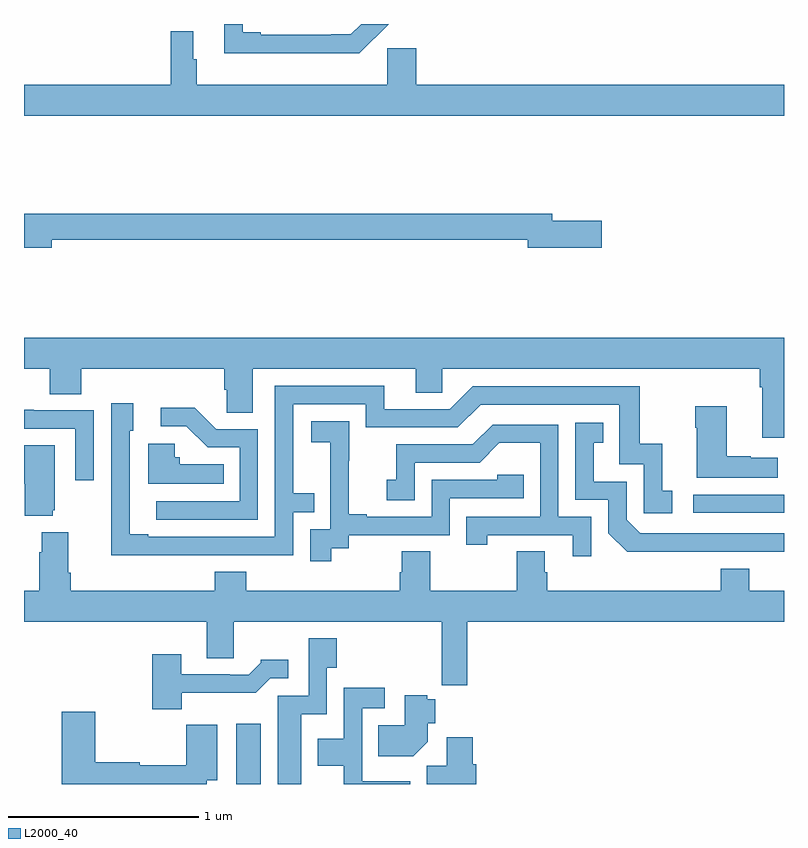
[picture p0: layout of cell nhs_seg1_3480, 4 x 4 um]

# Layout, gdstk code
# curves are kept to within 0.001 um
import gdstk
lib = gdstk.Library(unit=1e-6, precision=1e-09)
def R(c, l, rs):  # rectangles x0, y0, x1, y1
    for r in rs: c.add(gdstk.rectangle(r[:2], r[2:], *l))
def P(c, l, *ps):  # polygons
    for p in ps: c.add(gdstk.Polygon(p, *l))
L2000_40 = (2000, 40)

nhs_seg1_3480 = lib.new_cell('nhs_seg1_3480')
R(nhs_seg1_3480, L2000_40, [(300.116,564.199,300.247,564.517), (302.523,565.626,303,565.722)])
P(nhs_seg1_3480, L2000_40, [(300.92,568.199),(300.776,568.199),(300.721,568.144),(300.617,568.143),(300.247,568.143),(300.247,568.156),(300.151,568.156),(300.151,568.199),(300.053,568.199),(300.053,568.046),(300.565,568.046),(300.565,568.044),(300.764,568.044)],
  [(303,567.88),(301.064,567.88),(301.064,568.071),(300.913,568.071),(300.913,567.88),(299.909,567.88),(299.909,568.013),(299.89,568.013),(299.89,568.162),(299.773,568.162),(299.773,567.88),(299,567.88),(299,567.716),(303,567.716)],
  [(299.146,567.064),(301.652,567.064),(301.652,567.022),(302.041,567.022),(302.041,567.164),(301.78,567.164),(301.78,567.2),(299,567.2),(299,567.022),(299.146,567.022)],
  [(303,566.548),(299,566.548),(299,566.384),(299.135,566.384),(299.135,566.251),(299.3,566.251),(299.3,566.384),(300.053,566.384),(300.053,566.275),(300.066,566.275),(300.066,566.152),(300.205,566.152),(300.205,566.384),(301.061,566.384),(301.061,566.257),(301.2,566.257),(301.2,566.384),(302.873,566.384),(302.873,566.288),(302.885,566.288),(302.885,566.022),(303,566.022)],
  [(299.921,565.404),(300.417,565.404),(300.417,565.629),(300.527,565.629),(300.527,565.73),(300.417,565.73),(300.417,566.199),(300.798,566.199),(300.798,566.076),(301.284,566.076),(301.404,566.196),(302.133,566.196),(302.133,565.881),(302.262,565.881),(302.262,565.623),(302.413,565.623),(302.413,565.743),(302.36,565.743),(302.36,565.99),(302.242,565.99),(302.242,566.292),(301.362,566.292),(301.242,566.172),(300.895,566.172),(300.895,566.295),(300.321,566.295),(300.321,565.5),(299.653,565.5),(299.653,565.513),(299.557,565.513),(299.556,566.058),(299.575,566.058),(299.575,566.203),(299.46,566.203),(299.46,565.709),(299.458,565.709),(299.458,565.403)],
  [(302.968,565.915),(302.825,565.915),(302.825,565.925),(302.698,565.925),(302.698,566.188),(302.533,566.188),(302.533,566.075),(302.54,566.075),(302.54,565.811),(302.968,565.811)],
  [(300.231,566.067),(300.012,566.067),(299.899,566.18),(299.721,566.18),(299.721,566.082),(299.855,566.082),(299.966,565.971),(300.135,565.971),(300.135,565.686),(299.697,565.686),(299.697,565.59),(300.231,565.59)],
  [(299.367,566.166),(299.051,566.166),(299.051,566.168),(299,566.168),(299,566.07),(299.271,566.07),(299.271,565.797),(299.367,565.797)],
  [(300.616,565.441),(300.708,565.441),(300.708,565.509),(301.242,565.509),(301.242,565.704),(301.631,565.704),(301.631,565.827),(301.491,565.827),(301.491,565.8),(301.146,565.8),(301.146,565.605),(300.805,565.605),(300.805,565.618),(300.71,565.618),(300.71,565.901),(300.711,565.901),(300.711,566.107),(300.513,566.107),(300.513,565.997),(300.611,565.997),(300.611,565.769),(300.612,565.769),(300.612,565.539),(300.507,565.539),(300.507,565.371),(300.616,565.371)],
  [(302.582,565.422),(303,565.422),(303,565.518),(302.244,565.518),(302.172,565.59),(302.172,565.791),(301.999,565.791),(301.999,565.995),(302.048,565.995),(302.048,566.101),(301.902,566.101),(301.902,565.695),(302.076,565.695),(302.076,565.518),(302.174,565.421)],
  [(301.986,565.605),(301.812,565.605),(301.812,566.091),(301.466,566.091),(301.361,565.986),(300.958,565.986),(300.958,565.801),(300.909,565.801),(300.909,565.692),(301.056,565.692),(301.056,565.89),(301.398,565.89),(301.502,565.994),(301.716,565.994),(301.716,565.605),(301.327,565.605),(301.327,565.458),(301.438,565.458),(301.438,565.509),(301.889,565.509),(301.889,565.398),(301.986,565.398)],
  [(300.05,565.882),(299.82,565.882),(299.82,565.92),(299.793,565.92),(299.793,565.99),(299.654,565.99),(299.654,565.778),(300.05,565.778)],
  [(299.15,565.641),(299.161,565.641),(299.161,565.981),(299,565.981),(299,565.778),(299.003,565.778),(299.003,565.61),(299.15,565.61)],
  [(301.334,565.052),(303,565.052),(303,565.216),(302.818,565.216),(302.818,565.333),(302.666,565.333),(302.666,565.216),(301.754,565.216),(301.754,565.314),(301.741,565.314),(301.741,565.424),(301.594,565.424),(301.594,565.216),(301.137,565.216),(301.137,565.424),(300.989,565.424),(300.989,565.314),(300.977,565.314),(300.977,565.216),(300.17,565.216),(300.17,565.315),(300.005,565.315),(300.005,565.216),(299.246,565.216),(299.246,565.312),(299.233,565.312),(299.233,565.525),(299.093,565.525),(299.093,565.418),(299.081,565.418),(299.081,565.216),(299,565.216),(299,565.052),(299.963,565.052),(299.963,564.862),(300.103,564.862),(300.103,565.052),(301.198,565.052),(301.198,564.832),(301.199,564.832),(301.199,564.72),(301.334,564.72)],
  [(300.46,564.566),(300.594,564.566),(300.594,564.811),(300.647,564.811),(300.647,564.967),(300.498,564.967),(300.498,564.663),(300.335,564.663),(300.335,564.199),(300.46,564.199)],
  [(299.83,564.678),(300.219,564.678),(300.297,564.756),(300.391,564.756),(300.391,564.853),(300.246,564.853),(300.246,564.838),(300.182,564.774),(300.083,564.774),(300.083,564.777),(299.827,564.777),(299.827,564.883),(299.675,564.883),(299.675,564.593),(299.83,564.593)],
  [(301.033,564.214),(300.78,564.214),(300.78,564.597),(300.898,564.597),(300.898,564.706),(300.684,564.706),(300.684,564.436),(300.545,564.436),(300.545,564.296),(300.682,564.296),(300.682,564.199),(301.033,564.199)],
  [(301.126,564.422),(301.126,564.518),(301.165,564.518),(301.165,564.646),(301.122,564.646),(301.122,564.666),(301.004,564.666),(301.004,564.508),(300.865,564.508),(300.865,564.344),(301.048,564.344)],
  [(299.961,564.218),(300.016,564.218),(300.016,564.511),(299.854,564.511),(299.854,564.299),(299.61,564.299),(299.61,564.314),(299.376,564.314),(299.376,564.58),(299.198,564.58),(299.198,564.199),(299.961,564.199)],
  [(301.379,564.303),(301.361,564.303),(301.361,564.445),(301.226,564.445),(301.226,564.296),(301.121,564.296),(301.121,564.199),(301.379,564.199)])

lib.write_gds('nhs_seg1_3480.gds')
